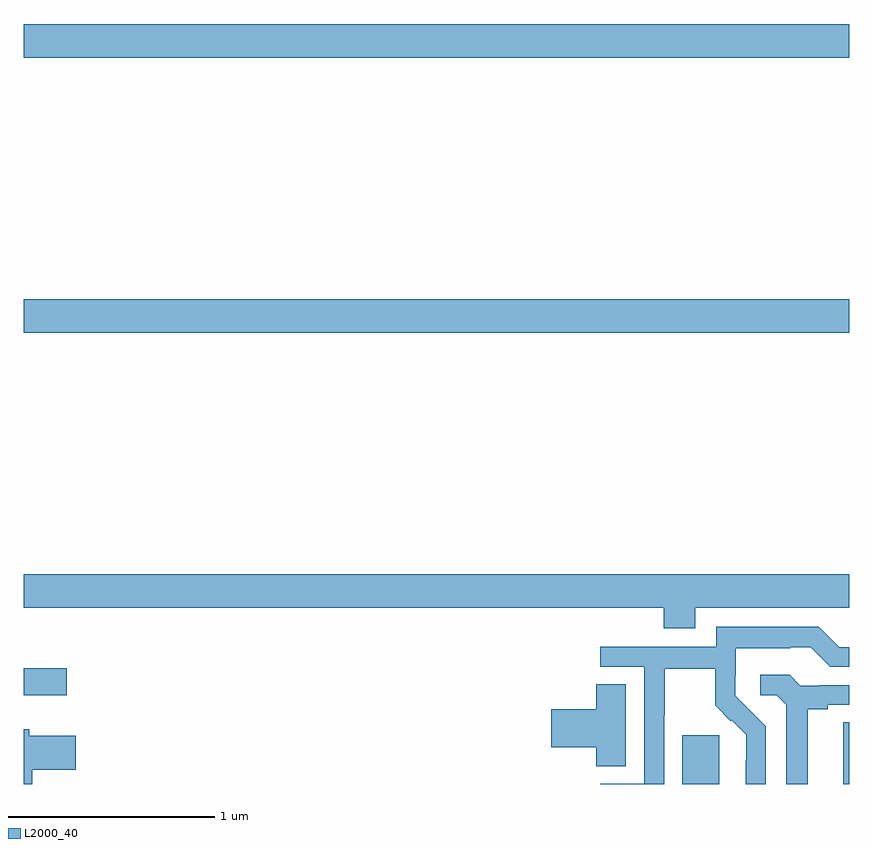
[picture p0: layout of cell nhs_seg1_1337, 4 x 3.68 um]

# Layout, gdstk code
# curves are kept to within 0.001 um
import gdstk
lib = gdstk.Library(unit=1e-6, precision=1e-09)
def R(c, l, rs):  # rectangles x0, y0, x1, y1
    for r in rs: c.add(gdstk.rectangle(r[:2], r[2:], *l))
def P(c, l, *ps):  # polygons
    for p in ps: c.add(gdstk.Polygon(p, *l))
L2000_40 = (2000, 40)

nhs_seg1_1337 = lib.new_cell('nhs_seg1_1337')
R(nhs_seg1_1337, L2000_40, [(186.191,564.199,186.37,564.435), (186.971,564.199,187,564.497), (183,564.629,183.208,564.759), (183,566.384,187,566.548), (183,567.716,187,567.88)])
P(nhs_seg1_1337, L2000_40, [(186.253,565.052),(187,565.052),(187,565.216),(183,565.216),(183,565.052),(186.101,565.052),(186.101,564.953),(186.253,564.953)],
  [(186.102,564.532),(186.105,564.532),(186.105,564.756),(186.349,564.756),(186.349,564.581),(186.426,564.504),(186.429,564.507),(186.5,564.437),(186.5,564.314),(186.498,564.314),(186.498,564.199),(186.594,564.199),(186.594,564.478),(186.448,564.626),(186.448,564.723),(186.45,564.723),(186.45,564.857),(186.713,564.857),(186.713,564.861),(186.813,564.861),(186.906,564.768),(187,564.768),(187,564.861),(186.951,564.861),(186.851,564.961),(186.354,564.961),(186.354,564.864),(185.793,564.864),(185.793,564.768),(186.006,564.768),(186.006,564.201),(185.793,564.201),(185.793,564.199),(186.102,564.199)],
  [(186.799,564.56),(186.895,564.56),(186.895,564.582),(187,564.582),(187,564.678),(186.856,564.678),(186.856,564.675),(186.762,564.675),(186.71,564.727),(186.567,564.727),(186.567,564.63),(186.648,564.63),(186.695,564.583),(186.695,564.199),(186.799,564.199)],
  [(185.917,564.683),(185.774,564.683),(185.774,564.56),(185.556,564.56),(185.556,564.377),(185.774,564.377),(185.774,564.286),(185.917,564.286)],
  [(183.041,564.268),(183.253,564.268),(183.253,564.433),(183.028,564.433),(183.028,564.463),(183,564.463),(183,564.199),(183.041,564.199)])

lib.write_gds('nhs_seg1_1337.gds')
